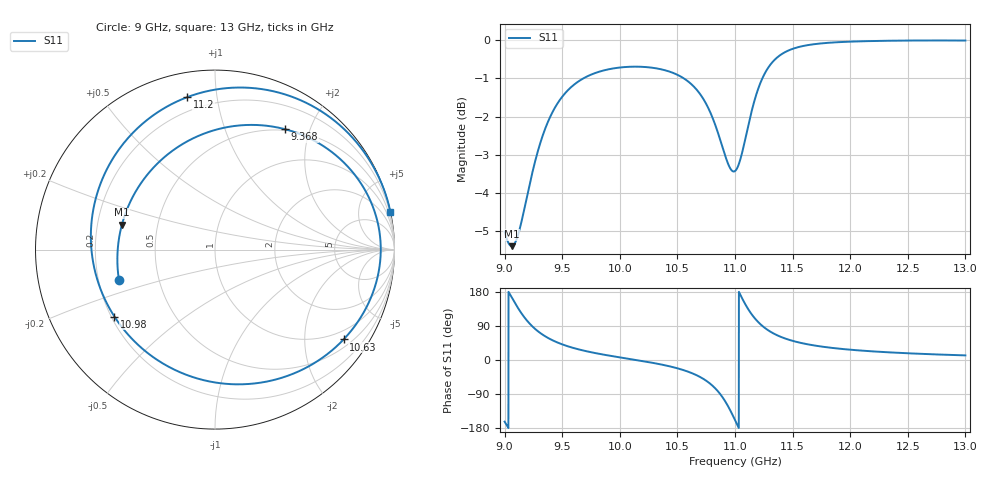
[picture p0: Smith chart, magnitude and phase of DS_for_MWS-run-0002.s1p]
! TOUCHSTONE file generated by CST DESIGN STUDIO
! Date and time: Tue Feb  4 14:30:00 2025
! Project name: C:\Work\MatlabApps\UnitCellOptimizationMatlab\CST\unitcell.cst
! Tree item: Tasks\Sweep1\SPara1\S-Parameters
! Header version: 2024
! Port assignment regex: !\s*Touchstone port\s*([0-9]+)\s*=\s*(CST MWS port|CST DES external port|CST DES block port)\s*(.+)\s* \(\"(.*)\"\)(\s*mode\s*([0-9]+))?.*
! Touchstone port assignment:
! Touchstone port 1 = CST DES external port 1 ("")
# GHz S MA R 50
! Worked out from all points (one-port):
!   4001 points, 9 GHz to 13 GHz, reference 50 ohm
!   lowest |S11| = -5.4 dB at 9.062 GHz (marker M1), VSWR 3.32, Z = 15.3 + j5.96 ohm
!   |S11| at or under -10 dB: nowhere
!   S11 on the Smith chart (normalised r, x): 9 GHz: 0.29, -0.14; 9.368 GHz: 0.48, +1.64; 10.63 GHz: 0.71, -3.02; 10.98 GHz: 0.21, -0.29; 11.2 GHz: 0.12, +0.83; 13 GHz: 0.03, +9.39
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9  0.561 -162.7
9.062  0.5369 165.0
9.136  0.5694 127.8
9.203  0.6325 100.9
9.277  0.705 78.9
9.368  0.7764 59.7
9.5  0.8433 41.3
9.709  0.8956 23.2
10  0.9211 6.9
10.283  0.9205 -7.4
10.5  0.9011 -21.9
10.628  0.874 -35.0
10.752  0.8241 -55.1
10.857  0.7523 -84.4
10.921  0.7012 -112.1
10.981  0.6732 -146.3
11  0.6737 -158.3
11.04  0.6928 176.1
11.081  0.7328 151.7
11.14  0.8022 122.6
11.201  0.8635 100.2
11.26  0.9057 84.4
11.337  0.9405 69.6
11.5  0.9746 50.5
11.703  0.9891 37.6
12  0.996 27.2
12.5  0.9994 17.8
13  0.9994 12.2
